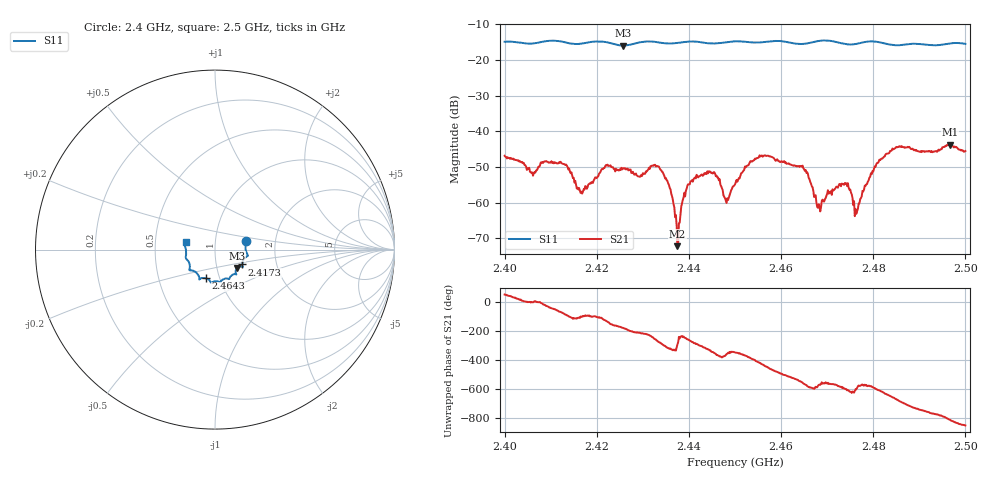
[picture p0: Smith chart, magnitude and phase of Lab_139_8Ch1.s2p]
# Hz S RI R 50
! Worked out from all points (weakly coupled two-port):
!   601 points, 2.4 GHz to 2.5 GHz, reference 50 ohm
!   highest |S21| = -43.79 dB at 2.4967 GHz (marker M1); lowest = -72.2 dB at 2.4375 GHz (marker M2)
!   lowest |S11| = -15.9 dB at 2.4257 GHz (marker M3), VSWR 1.38, Z = 62.4 - j13.1 ohm
!   |S11| at or under -10 dB: start of sweep to end of sweep
!   S12 and S22 are empty: the file has one direction only
!   S11 on the Smith chart (normalised r, x): 2.4 GHz: 1.41, +0.14; 2.4173 GHz: 1.34, -0.23; 2.4643 GHz: 0.86, -0.28; 2.5 GHz: 0.72, +0.06
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2.4e9  0.1737 0.0492  0.00272 0.00363  0 0  0 0
2.406167e9  0.1707 -0.00108  0.00238 -2.78e-05  0 0  0 0
2.412667e9  0.1758 -0.039  0.000838 -0.00339  0 0  0 0
2.416667e9  0.1524 -0.0751  -0.000276 -0.0014  0 0  0 0
2.417333e9  0.1519 -0.0824  -0.000134 -0.00152  0 0  0 0
2.425667e9  0.1224 -0.1026  -0.00301 -0.000127  0 0  0 0
2.433333e9  0.1124 -0.1366  0.0002 0.00322  0 0  0 0
2.435833e9  0.0952 -0.1418  0.0013 0.000939  0 0  0 0
2.4375e9  0.0847 -0.1517  9.84e-05 0.000224  0 0  0 0
2.441167e9  0.0776 -0.1645  0.000549 0.00214  0 0  0 0
2.445167e9  0.0537 -0.1621  0.00246 0.00067  0 0  0 0
2.448167e9  0.0345 -0.1747  0.000986 1.14e-05  0 0  0 0
2.45e9  0.0294 -0.1809  0.00176 0.000356  0 0  0 0
2.455833e9  -0.0055 -0.1776  0.00156 -0.0043  0 0  0 0
2.464333e9  -0.0502 -0.1602  -0.0032 0.000657  0 0  0 0
2.466667e9  -0.0762 -0.1594  -0.00101 0.00136  0 0  0 0
2.468167e9  -0.0854 -0.1644  -0.000784 0.000532  0 0  0 0
2.474e9  -0.0976 -0.136  -0.000829 0.00164  0 0  0 0
2.4765e9  -0.1219 -0.1176  -0.000446 0.000613  0 0  0 0
2.483333e9  -0.1401 -0.0893  0.00129 0.00473  0 0  0 0
2.496667e9  -0.1696 0.0245  -0.000634 -0.00643  0 0  0 0
2.5e9  -0.1633 0.0417  -0.00372 -0.00375  0 0  0 0
